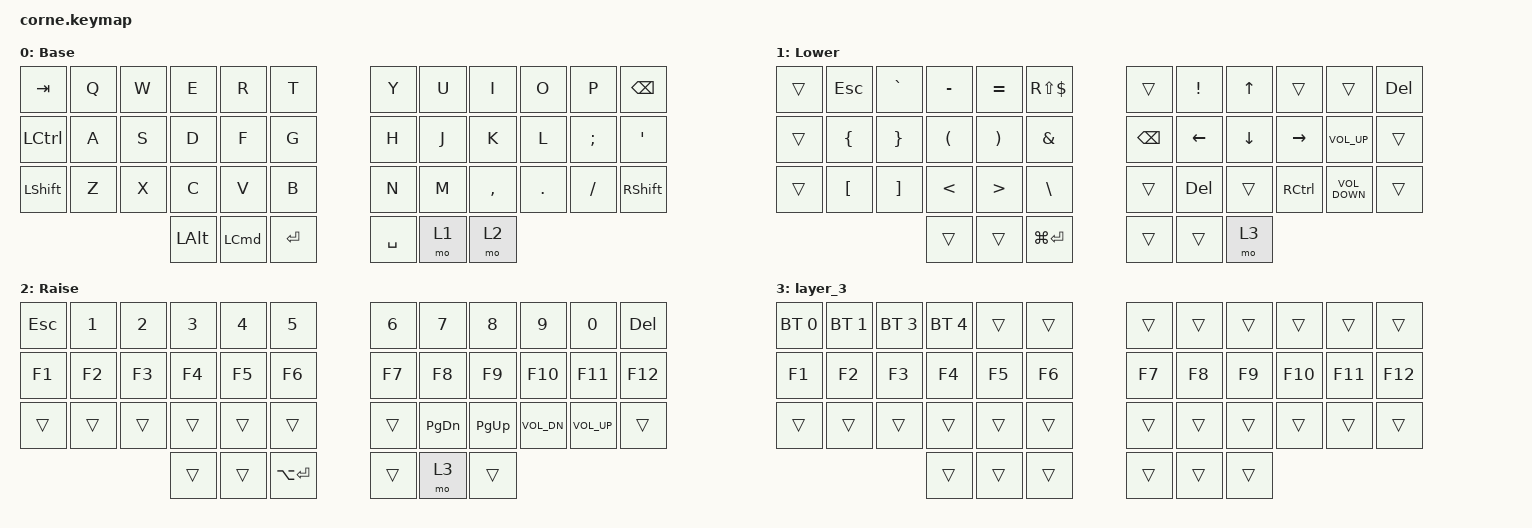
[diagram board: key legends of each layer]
/*
 * Copyright (c) 2020 The ZMK Contributors
 *
 * SPDX-License-Identifier: MIT
 */

#include <behaviors.dtsi>
#include <dt-bindings/zmk/bt.h>
#include <dt-bindings/zmk/keys.h>

/ {
    keymap {
        compatible = "zmk,keymap";

        default_layer {
            // -----------------------------------------------------------------------------------------
            // |  TAB |  Q  |  W  |  E  |  R  |  T  |   |  Y  |  U   |  I  |  O  |  P  | BKSP |
            // | CTRL |  A  |  S  |  D  |  F  |  G  |   |  H  |  J   |  K  |  L  |  ;  |  '   |
            // | SHFT |  Z  |  X  |  C  |  V  |  B  |   |  N  |  M   |  ,  |  .  |  /  | ESC  |
            //                    | GUI | LWR | SPC |   | ENT | RSE  | ALT |

            display-name = "Base";
            bindings = <
&kp TAB    &kp Q  &kp W  &kp E         &kp R             &kp T        &kp Y      &kp U  &kp I      &kp O    &kp P     &kp BSPC
&kp LCTRL  &kp A  &kp S  &kp D         &kp F             &kp G        &kp H      &kp J  &kp K      &kp L    &kp SEMI  &kp SQT
&kp LSHFT  &kp Z  &kp X  &kp C         &kp V             &kp B        &kp N      &kp M  &kp COMMA  &kp DOT  &kp FSLH  &kp RIGHT_SHIFT
                         &kp LEFT_ALT  &kp LEFT_COMMAND  &kp ENTER    &kp SPACE  &mo 1  &mo 2
            >;
        };

        lower_layer {
            // -----------------------------------------------------------------------------------------
            // |  TAB |  1  |  2  |  3  |  4  |  5  |   |  6  |  7  |  8  |  9  |  0  | BKSP |
            // | BTCLR| BT1 | BT2 | BT3 | BT4 | BT5 |   | LFT | DWN |  UP | RGT |     |      |
            // | SHFT |     |     |     |     |     |   |     |     |     |     |     |      |
            //                    | GUI |     | SPC |   | ENT |     | ALT |

            display-name = "Lower";
            bindings = <
&trans  &kp ESCAPE        &kp GRAVE          &kp MINUS             &kp EQUAL              &kp RS(DOLLAR)    &trans         &kp EXCL  &kp UP_ARROW  &trans     &trans             &kp DELETE
&trans  &kp LEFT_BRACE    &kp RIGHT_BRACE    &kp LEFT_PARENTHESIS  &kp RIGHT_PARENTHESIS  &kp AMPERSAND     &kp BACKSPACE  &kp LEFT  &kp DOWN      &kp RIGHT  &kp C_VOLUME_UP    &trans
&trans  &kp LEFT_BRACKET  &kp RIGHT_BRACKET  &kp LESS_THAN         &kp GREATER_THAN       &kp BACKSLASH     &trans         &kp DEL   &trans        &kp RCTRL  &kp C_VOLUME_DOWN  &trans
                                             &trans                &trans                 &kp LG(ENTER)     &trans         &trans    &mo 3
            >;
        };

        raise_layer {
            // -----------------------------------------------------------------------------------------
            // |  TAB |  !  |  @  |  #  |  $  |  %  |   |  ^  |  &  |  *  |  (  |  )  | BKSP |
            // | CTRL |     |     |     |     |     |   |  -  |  =  |  [  |  ]  |  \  |  `   |
            // | SHFT |     |     |     |     |     |   |  _  |  +  |  {  |  }  | "|" |  ~   |
            //                    | GUI |     | SPC |   | ENT |     | ALT |

            display-name = "Raise";
            bindings = <
&kp ESCAPE  &kp NUMBER_1  &kp NUMBER_2  &kp NUMBER_3  &kp NUMBER_4  &kp N5           &kp NUMBER_6  &kp N7         &kp N8       &kp N9        &kp N0           &kp DELETE
&kp F1      &kp F2        &kp F3        &kp F4        &kp F5        &kp F6           &kp F7        &kp F8         &kp F9       &kp F10       &kp F11          &kp F12
&trans      &trans        &trans        &trans        &trans        &trans           &trans        &kp PAGE_DOWN  &kp PAGE_UP  &kp C_VOL_DN  &kp C_VOLUME_UP  &trans
                                        &trans        &trans        &kp LA(ENTER)    &trans        &mo 3          &trans
            >;
        };

        layer_3 {
            bindings = <
&bt BT_SEL 0  &bt BT_SEL 1  &bt BT_SEL 3  &bt BT_SEL 4  &trans  &trans    &trans  &trans  &trans  &trans   &trans   &trans
&kp F1        &kp F2        &kp F3        &kp F4        &kp F5  &kp F6    &kp F7  &kp F8  &kp F9  &kp F10  &kp F11  &kp F12
&trans        &trans        &trans        &trans        &trans  &trans    &trans  &trans  &trans  &trans   &trans   &trans
                                          &trans        &trans  &trans    &trans  &trans  &trans
            >;
        };
    };
};
